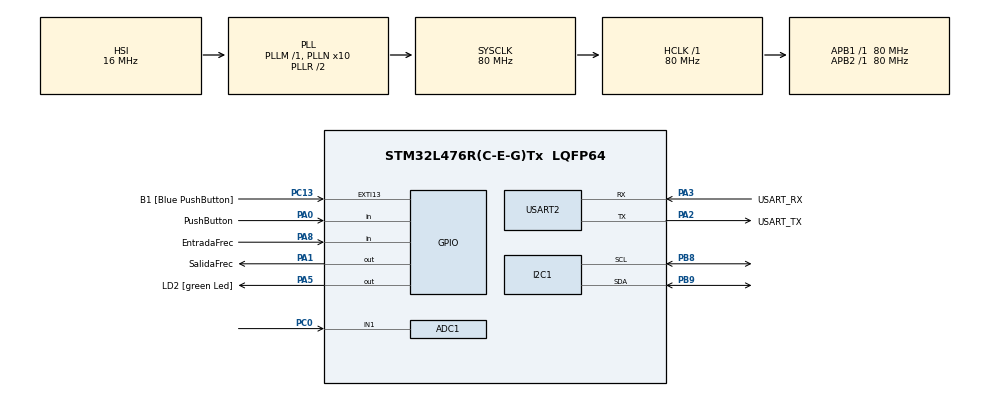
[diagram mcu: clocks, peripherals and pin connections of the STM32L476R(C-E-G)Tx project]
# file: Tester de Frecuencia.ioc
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ADC1.Channel-0\#ChannelRegularConversion=ADC_CHANNEL_1
ADC1.ContinuousConvMode=ENABLE
ADC1.DMAContinuousRequests=ENABLE
ADC1.NbrOfConversionFlag=1
ADC1.OffsetNumber-0\#ChannelRegularConversion=ADC_OFFSET_NONE
ADC1.Rank-0\#ChannelRegularConversion=1
ADC1.SamplingTime-0\#ChannelRegularConversion=ADC_SAMPLETIME_640CYCLES_5
ADC1.master=1
Dma.ADC1.0.Direction=DMA_PERIPH_TO_MEMORY
Dma.ADC1.0.Instance=DMA1_Channel1
Dma.ADC1.0.MemDataAlignment=DMA_MDATAALIGN_WORD
Dma.ADC1.0.MemInc=DMA_MINC_ENABLE
Dma.ADC1.0.Mode=DMA_CIRCULAR
Dma.ADC1.0.PeriphDataAlignment=DMA_PDATAALIGN_WORD
Dma.ADC1.0.PeriphInc=DMA_PINC_DISABLE
Dma.ADC1.0.Priority=DMA_PRIORITY_LOW
Dma.Request0=ADC1
I2C1.Timing=0x10909CEC
Mcu.Family=STM32L4
Mcu.Name=STM32L476R(C-E-G)Tx
Mcu.Package=LQFP64
NVIC.DMA1_Channel1_IRQn=true\:0\:0\:false\:false\:true\:false\:true\:true
NVIC.PriorityGroup=NVIC_PRIORITYGROUP_4
NVIC.TIM2_IRQn=true\:0\:0\:false\:false\:true\:true\:true\:true
PA0.GPIO_Label=PushButton
PA0.GPIO_PuPd=GPIO_PULLDOWN
PA0.Signal=GPIO_Input
PA1.GPIO_Label=SalidaFrec
PA1.Signal=GPIO_Output
PA13\ (JTMS-SWDIO).GPIO_Label=TMS
PA13\ (JTMS-SWDIO).Mode=Serial_Wire
PA13\ (JTMS-SWDIO).Signal=SYS_JTMS-SWDIO
PA14\ (JTCK-SWCLK).GPIO_Label=TCK
PA14\ (JTCK-SWCLK).Mode=Serial_Wire
PA14\ (JTCK-SWCLK).Signal=SYS_JTCK-SWCLK
PA2.GPIO_Label=USART_TX
PA2.GPIO_Mode=GPIO_MODE_AF_PP
PA2.GPIO_PuPd=GPIO_NOPULL
PA2.GPIO_Speed=GPIO_SPEED_FREQ_VERY_HIGH
PA2.Mode=Asynchronous
PA2.Signal=USART2_TX
PA3.GPIO_Label=USART_RX
PA3.GPIO_Mode=GPIO_MODE_AF_PP
PA3.GPIO_PuPd=GPIO_NOPULL
PA3.GPIO_Speed=GPIO_SPEED_FREQ_VERY_HIGH
PA3.Mode=Asynchronous
PA3.Signal=USART2_RX
PA5.GPIO_Label=LD2 [green Led]
PA5.GPIO_ModeDefaultOutputPP=GPIO_MODE_OUTPUT_PP
PA5.GPIO_PuPd=GPIO_NOPULL
PA5.GPIO_Speed=GPIO_SPEED_FREQ_LOW
PA5.Signal=GPIO_Output
PA8.GPIO_Label=EntradaFrec
PA8.GPIO_PuPd=GPIO_PULLDOWN
PA8.Signal=GPIO_Input
PB3\ (JTDO-TRACESWO).GPIO_Label=SWO
PB3\ (JTDO-TRACESWO).Signal=SYS_JTDO-SWO
PB8.Mode=I2C
PB8.Signal=I2C1_SCL
PB9.Mode=I2C
PB9.Signal=I2C1_SDA
PC0.Signal=ADCx_IN1
PC13.GPIO_Label=B1 [Blue PushButton]
PC13.GPIO_ModeDefaultEXTI=GPIO_MODE_IT_FALLING
PC13.GPIO_PuPd=GPIO_PULLUP
PC13.Signal=GPXTI13
PC14-OSC32_IN\ (PC14).Mode=LSE-External-Oscillator
PC14-OSC32_IN\ (PC14).Signal=RCC_OSC32_IN
PC15-OSC32_OUT\ (PC15).Mode=LSE-External-Oscillator
PC15-OSC32_OUT\ (PC15).Signal=RCC_OSC32_OUT
PH0-OSC_IN\ (PH0).Signal=RCC_OSC_IN
PH1-OSC_OUT\ (PH1).Signal=RCC_OSC_OUT
ProjectManager.HeapSize=0x200
ProjectManager.StackSize=0x400
ProjectManager.TargetToolchain=STM32CubeIDE
RCC.ADCFreq_Value=64000000
RCC.AHBFreq_Value=80000000
RCC.APB1Freq_Value=80000000
RCC.APB1TimFreq_Value=80000000
RCC.APB2Freq_Value=80000000
RCC.APB2TimFreq_Value=80000000
RCC.CortexFreq_Value=80000000
RCC.HCLKFreq_Value=80000000
RCC.HSE_VALUE=8000000
RCC.HSI_VALUE=16000000
RCC.MSI_VALUE=4000000
RCC.PLLN=10
RCC.PLLSourceVirtual=RCC_PLLSOURCE_HSI
RCC.PREFETCH_ENABLE=1
RCC.SYSCLKFreq_VALUE=80000000
RCC.SYSCLKSource=RCC_SYSCLKSOURCE_PLLCLK
RCC.USBFreq_Value=64000000
RCC.VCOOutputFreq_Value=160000000
SH.ADCx_IN1.0=ADC1_IN1,IN1-Single-Ended
TIM2.Period=1000
TIM2.Prescaler=80-1
USART2.VirtualMode-Asynchronous=VM_ASYNC
VP_TIM2_VS_ClockSourceINT.Mode=Internal
board=NUCLEO-L476RG

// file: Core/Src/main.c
/* USER CODE BEGIN Header */
/**
  ******************************************************************************
  * @file           : main.c
  * @brief          : Main program body
  ******************************************************************************
  * @attention
  *
  * Copyright (c) 2024 STMicroelectronics.
  * All rights reserved.
  *
  * This software is licensed under terms that can be found in the LICENSE file
  * in the root directory of this software component.
  * If no LICENSE file comes with this software, it is provided AS-IS.
  *
  ******************************************************************************
  */
/* USER CODE END Header */
#include "main.h"

/* USER CODE BEGIN Includes */
#include <stdio.h>
#include <stdlib.h>
#include <math.h>
#include "i2c-lcd.h"
/* USER CODE END Includes */

/* USER CODE BEGIN PD */
#define PUERTO_PB_A   GPIOA         //Puerto Boton Externo
#define PIN_PB_A 	  GPIO_PIN_0    //Pin Boton Externo
#define PUERTO_SALIDA_F   GPIOA      //Salida Frecuencia
#define PIN_SALIDA_F 	  GPIO_PIN_1
#define PUERTO_ENTRADA_FREC   GPIOA
#define PIN_ENTRADA_FREC 	  GPIO_PIN_8
#define TRUE	  1
#define FALSE     0
#define ESTADO_MEDIDOR   0
#define ESTADO_INICIAL   1
#define ESTADO_INTERMEDIO   2
#define MEDIDOR_ON   1          //Empezar a medir voltaje
#define MEDIDOR_OFF  0          //Dejar de medir voltaje
#define CAL 1.685               //Valor de Calibracion
#define MUESTRAS     20         //Muestras a realizar

/* USER CODE END PD */

ADC_HandleTypeDef hadc1;
DMA_HandleTypeDef hdma_adc1;

I2C_HandleTypeDef hi2c1;

TIM_HandleTypeDef htim2;

UART_HandleTypeDef huart2;

/* USER CODE BEGIN PV */
int Func_ESTADO_INICIAL(void);
int Func_ESTADO_MEDIDOR(void);
int Func_ESTADO_INTERMEDIO(void);
char VOL_STR[5];                   //String del Voltaje
unsigned int Estado_Medidor;
unsigned int Frecuencia_Salida;
volatile float Frecuencia = 0.0;
volatile uint32_t Tiempo_Subida = 0;      //Tiempo de Flanco de Subida
volatile uint32_t Tiempo_Bajada = 0;
volatile uint32_t Periodo = 0;
unsigned int cont_Frec = 0;

volatile int ESTADO_ANTERIOR = ESTADO_INICIAL;
volatile int ESTADO_ACTUAL = ESTADO_INICIAL;
volatile int ESTADO_SIGUIENTE = ESTADO_INICIAL;
volatile struct INOUT
{
    unsigned int Sa:1;
} inout;
/* USER CODE END PV */

void SystemClock_Config(void);
static void MX_GPIO_Init(void);
static void MX_DMA_Init(void);
static void MX_USART2_UART_Init(void);
static void MX_TIM2_Init(void);
static void MX_ADC1_Init(void);
static void MX_I2C1_Init(void);
/* USER CODE BEGIN PFP */

#ifdef __GNUC__
#define PUTCHAR_PROTOTYPE int __io_putchar(int ch)
#else
#define PUTCHAR_PROTOTYPE int fputc(int ch, FILE *f)
#endif

PUTCHAR_PROTOTYPE
{
  HAL_UART_Transmit(&huart2, (uint8_t *)&ch, 1, HAL_MAX_DELAY);
  return ch;
}

/* USER CODE END PFP */

int main(void)
{

  /* MCU Configuration--------------------------------------------------------*/

  /* Reset of all peripherals, Initializes the Flash interface and the Systick. */
  HAL_Init();

  /* Configure the system clock */
  SystemClock_Config();

  /* Initialize all configured peripherals */
  MX_GPIO_Init();
  MX_DMA_Init();
  MX_USART2_UART_Init();
  MX_TIM2_Init();
  MX_ADC1_Init();
  MX_I2C1_Init();
  /* USER CODE BEGIN 2 */
  HAL_TIM_Base_Start_IT(&htim2);
  lcd_init();
  /* USER CODE END 2 */

  /* Infinite loop */
  /* USER CODE BEGIN WHILE */
  while (1)
  {
	if(ESTADO_SIGUIENTE == ESTADO_INICIAL)
	{
		ESTADO_SIGUIENTE = Func_ESTADO_INICIAL();
	}
	if(ESTADO_SIGUIENTE == ESTADO_INTERMEDIO)
	{
		ESTADO_SIGUIENTE = Func_ESTADO_INTERMEDIO();
	}

	if(ESTADO_SIGUIENTE == ESTADO_MEDIDOR)
	{
		ESTADO_SIGUIENTE = Func_ESTADO_MEDIDOR();
	}
    /* USER CODE END WHILE */

  }
}

void SystemClock_Config(void)
{
  RCC_OscInitTypeDef RCC_OscInitStruct = {0};
  RCC_ClkInitTypeDef RCC_ClkInitStruct = {0};

  /** Configure the main internal regulator output voltage
  */
  if (HAL_PWREx_ControlVoltageScaling(PWR_REGULATOR_VOLTAGE_SCALE1) != HAL_OK)
  {
    Error_Handler();
  }

  /** Initializes the RCC Oscillators according to the specified parameters
  * in the RCC_OscInitTypeDef structure.
  */
  RCC_OscInitStruct.OscillatorType = RCC_OSCILLATORTYPE_HSI;
  RCC_OscInitStruct.HSIState = RCC_HSI_ON;
  RCC_OscInitStruct.HSICalibrationValue = RCC_HSICALIBRATION_DEFAULT;
  RCC_OscInitStruct.PLL.PLLState = RCC_PLL_ON;
  RCC_OscInitStruct.PLL.PLLSource = RCC_PLLSOURCE_HSI;
  RCC_OscInitStruct.PLL.PLLM = 1;
  RCC_OscInitStruct.PLL.PLLN = 10;
  RCC_OscInitStruct.PLL.PLLP = RCC_PLLP_DIV7;
  RCC_OscInitStruct.PLL.PLLQ = RCC_PLLQ_DIV2;
  RCC_OscInitStruct.PLL.PLLR = RCC_PLLR_DIV2;
  if (HAL_RCC_OscConfig(&RCC_OscInitStruct) != HAL_OK)
  {
    Error_Handler();
  }

  /** Initializes the CPU, AHB and APB buses clocks
  */
  RCC_ClkInitStruct.ClockType = RCC_CLOCKTYPE_HCLK|RCC_CLOCKTYPE_SYSCLK
                              |RCC_CLOCKTYPE_PCLK1|RCC_CLOCKTYPE_PCLK2;
  RCC_ClkInitStruct.SYSCLKSource = RCC_SYSCLKSOURCE_PLLCLK;
  RCC_ClkInitStruct.AHBCLKDivider = RCC_SYSCLK_DIV1;
  RCC_ClkInitStruct.APB1CLKDivider = RCC_HCLK_DIV1;
  RCC_ClkInitStruct.APB2CLKDivider = RCC_HCLK_DIV1;

  if (HAL_RCC_ClockConfig(&RCC_ClkInitStruct, FLASH_LATENCY_4) != HAL_OK)
  {
    Error_Handler();
  }
}

static void MX_ADC1_Init(void)
{

  ADC_MultiModeTypeDef multimode = {0};
  ADC_ChannelConfTypeDef sConfig = {0};

  /** Common config
  */
  hadc1.Instance = ADC1;
  hadc1.Init.ClockPrescaler = ADC_CLOCK_ASYNC_DIV1;
  hadc1.Init.Resolution = ADC_RESOLUTION_12B;
  hadc1.Init.DataAlign = ADC_DATAALIGN_RIGHT;
  hadc1.Init.ScanConvMode = ADC_SCAN_DISABLE;
  hadc1.Init.EOCSelection = ADC_EOC_SINGLE_CONV;
  hadc1.Init.LowPowerAutoWait = DISABLE;
  hadc1.Init.ContinuousConvMode = ENABLE;
  hadc1.Init.NbrOfConversion = 1;
  hadc1.Init.DiscontinuousConvMode = DISABLE;
  hadc1.Init.ExternalTrigConv = ADC_SOFTWARE_START;
  hadc1.Init.ExternalTrigConvEdge = ADC_EXTERNALTRIGCONVEDGE_NONE;
  hadc1.Init.DMAContinuousRequests = ENABLE;
  hadc1.Init.Overrun = ADC_OVR_DATA_PRESERVED;
  hadc1.Init.OversamplingMode = DISABLE;
  if (HAL_ADC_Init(&hadc1) != HAL_OK)
  {
    Error_Handler();
  }

  /** Configure the ADC multi-mode
  */
  multimode.Mode = ADC_MODE_INDEPENDENT;
  if (HAL_ADCEx_MultiModeConfigChannel(&hadc1, &multimode) != HAL_OK)
  {
    Error_Handler();
  }

  /** Configure Regular Channel
  */
  sConfig.Channel = ADC_CHANNEL_1;
  sConfig.Rank = ADC_REGULAR_RANK_1;
  sConfig.SamplingTime = ADC_SAMPLETIME_640CYCLES_5;
  sConfig.SingleDiff = ADC_SINGLE_ENDED;
  sConfig.OffsetNumber = ADC_OFFSET_NONE;
  sConfig.Offset = 0;
  if (HAL_ADC_ConfigChannel(&hadc1, &sConfig) != HAL_OK)
  {
    Error_Handler();
  }

}

static void MX_I2C1_Init(void)
{

  hi2c1.Instance = I2C1;
  hi2c1.Init.Timing = 0x10909CEC;
  hi2c1.Init.OwnAddress1 = 0;
  hi2c1.Init.AddressingMode = I2C_ADDRESSINGMODE_7BIT;
  hi2c1.Init.DualAddressMode = I2C_DUALADDRESS_DISABLE;
  hi2c1.Init.OwnAddress2 = 0;
  hi2c1.Init.OwnAddress2Masks = I2C_OA2_NOMASK;
  hi2c1.Init.GeneralCallMode = I2C_GENERALCALL_DISABLE;
  hi2c1.Init.NoStretchMode = I2C_NOSTRETCH_DISABLE;
  if (HAL_I2C_Init(&hi2c1) != HAL_OK)
  {
    Error_Handler();
  }

  /** Configure Analogue filter
  */
  if (HAL_I2CEx_ConfigAnalogFilter(&hi2c1, I2C_ANALOGFILTER_ENABLE) != HAL_OK)
  {
    Error_Handler();
  }

  /** Configure Digital filter
  */
  if (HAL_I2CEx_ConfigDigitalFilter(&hi2c1, 0) != HAL_OK)
  {
    Error_Handler();
  }

}

static void MX_TIM2_Init(void)
{

  TIM_ClockConfigTypeDef sClockSourceConfig = {0};
  TIM_MasterConfigTypeDef sMasterConfig = {0};

  htim2.Instance = TIM2;
  htim2.Init.Prescaler = 80-1;
  htim2.Init.CounterMode = TIM_COUNTERMODE_UP;
  htim2.Init.Period = 1000;
  htim2.Init.ClockDivision = TIM_CLOCKDIVISION_DIV1;
  htim2.Init.AutoReloadPreload = TIM_AUTORELOAD_PRELOAD_DISABLE;
  if (HAL_TIM_Base_Init(&htim2) != HAL_OK)
  {
    Error_Handler();
  }
  sClockSourceConfig.ClockSource = TIM_CLOCKSOURCE_INTERNAL;
  if (HAL_TIM_ConfigClockSource(&htim2, &sClockSourceConfig) != HAL_OK)
  {
    Error_Handler();
  }
  sMasterConfig.MasterOutputTrigger = TIM_TRGO_RESET;
  sMasterConfig.MasterSlaveMode = TIM_MASTERSLAVEMODE_DISABLE;
  if (HAL_TIMEx_MasterConfigSynchronization(&htim2, &sMasterConfig) != HAL_OK)
  {
    Error_Handler();
  }

}

static void MX_USART2_UART_Init(void)
{

  huart2.Instance = USART2;
  huart2.Init.BaudRate = 115200;
  huart2.Init.WordLength = UART_WORDLENGTH_8B;
  huart2.Init.StopBits = UART_STOPBITS_1;
  huart2.Init.Parity = UART_PARITY_NONE;
  huart2.Init.Mode = UART_MODE_TX_RX;
  huart2.Init.HwFlowCtl = UART_HWCONTROL_NONE;
  huart2.Init.OverSampling = UART_OVERSAMPLING_16;
  huart2.Init.OneBitSampling = UART_ONE_BIT_SAMPLE_DISABLE;
  huart2.AdvancedInit.AdvFeatureInit = UART_ADVFEATURE_NO_INIT;
  if (HAL_UART_Init(&huart2) != HAL_OK)
  {
    Error_Handler();
  }

}

static void MX_DMA_Init(void)
{

  /* DMA controller clock enable */
  __HAL_RCC_DMA1_CLK_ENABLE();

  /* DMA interrupt init */
  /* DMA1_Channel1_IRQn interrupt configuration */
  HAL_NVIC_SetPriority(DMA1_Channel1_IRQn, 0, 0);
  HAL_NVIC_EnableIRQ(DMA1_Channel1_IRQn);

}

static void MX_GPIO_Init(void)
{
  GPIO_InitTypeDef GPIO_InitStruct = {0};

  /* GPIO Ports Clock Enable */
  __HAL_RCC_GPIOC_CLK_ENABLE();
  __HAL_RCC_GPIOH_CLK_ENABLE();
  __HAL_RCC_GPIOA_CLK_ENABLE();
  __HAL_RCC_GPIOB_CLK_ENABLE();

  /*Configure GPIO pin Output Level */
  HAL_GPIO_WritePin(GPIOA, SalidaFrec_Pin|LD2_Pin, GPIO_PIN_RESET);

  /*Configure GPIO pin : B1_Pin */
  GPIO_InitStruct.Pin = B1_Pin;
  GPIO_InitStruct.Mode = GPIO_MODE_IT_FALLING;
  GPIO_InitStruct.Pull = GPIO_PULLUP;
  HAL_GPIO_Init(B1_GPIO_Port, &GPIO_InitStruct);

  /*Configure GPIO pins : PushButton_Pin EntradaFrec_Pin */
  GPIO_InitStruct.Pin = PushButton_Pin|EntradaFrec_Pin;
  GPIO_InitStruct.Mode = GPIO_MODE_INPUT;
  GPIO_InitStruct.Pull = GPIO_PULLDOWN;
  HAL_GPIO_Init(GPIOA, &GPIO_InitStruct);

  /*Configure GPIO pins : SalidaFrec_Pin LD2_Pin */
  GPIO_InitStruct.Pin = SalidaFrec_Pin|LD2_Pin;
  GPIO_InitStruct.Mode = GPIO_MODE_OUTPUT_PP;
  GPIO_InitStruct.Pull = GPIO_NOPULL;
  GPIO_InitStruct.Speed = GPIO_SPEED_FREQ_LOW;
  HAL_GPIO_Init(GPIOA, &GPIO_InitStruct);

}

/* USER CODE BEGIN 4 */

int Func_ESTADO_INICIAL(void)
{
    ESTADO_ANTERIOR = ESTADO_ACTUAL;
    ESTADO_ACTUAL = ESTADO_INICIAL;
    Estado_Medidor = MEDIDOR_OFF;
    for(;;)
    {
    	if(inout.Sa == TRUE)
        {
        	return ESTADO_INTERMEDIO;
        }
    }
}

int Func_ESTADO_INTERMEDIO(void)
{
    ESTADO_ANTERIOR = ESTADO_ACTUAL;
    ESTADO_ACTUAL = ESTADO_INTERMEDIO;
    for(;;)
    {
        if((inout.Sa == FALSE) && (ESTADO_ANTERIOR == ESTADO_INICIAL))
        {
        	return ESTADO_MEDIDOR;
        }
        if((inout.Sa == FALSE) && (ESTADO_ANTERIOR == ESTADO_MEDIDOR))
        {
            return ESTADO_INICIAL;
        }
    }
}

int Func_ESTADO_MEDIDOR(void)
{
    ESTADO_ANTERIOR = ESTADO_ACTUAL;
    ESTADO_ACTUAL = ESTADO_MEDIDOR;
    Estado_Medidor = MEDIDOR_ON;
    for(;;)
    {
    	if(inout.Sa == TRUE)
        {
        	return ESTADO_INTERMEDIO;
        }
    	//lcd_clear();
		//lcd_enviar("Voltaje:", 0, 2);     //Palabra Voltaje, Fila 0, Columna 2
		//lcd_enviar(VOL_STR, 1, 2);
		//HAL_Delay(1000);
    }
}

void HAL_TIM_PeriodElapsedCallback(TIM_HandleTypeDef *htim2)
{

		if(HAL_GPIO_ReadPin(PUERTO_PB_A, PIN_PB_A) == TRUE)
		{
			inout.Sa = TRUE;
		}
		else
		{
			inout.Sa = FALSE;
		}

		/*static unsigned cont_VOL = 0;
		static float Media = 0.0;
		static float VOLTAJE = 0.00;
		static uint32_t MED_ADC = 0;      //Medir ADC

		if (Estado_Medidor == MEDIDOR_ON)
		{
			HAL_ADC_Start_IT(&hadc1);
			MED_ADC = HAL_ADC_GetValue(&hadc1);
			if (cont_VOL >= MUESTRAS)
			{
				Media = Media/cont_VOL;
				Media = sqrtf(Media) * 0.0005;
				VOLTAJE = Media * CAL;
				sprintf(VOL_STR, "%.2f", VOLTAJE);      //Convertir de Float a String
				cont_VOL = 0;
				Media = 0;
			}
			else
			{
				MED_ADC = MED_ADC * MED_ADC;
				Media += MED_ADC;
				cont_VOL++;
				MED_ADC = 0;
			}
			HAL_ADC_Stop_IT(&hadc1);
		}
		else
		{
			HAL_ADC_Stop_IT(&hadc1);
		}*/
		//static uint32_t tiempo_actual = 0;

		if (cont_Frec == 80)
		{
			HAL_GPIO_TogglePin(PUERTO_SALIDA_F, PIN_SALIDA_F);
			Frecuencia_Salida = HAL_GPIO_ReadPin(PUERTO_SALIDA_F, PIN_SALIDA_F);
			cont_Frec = 0;
		}
		else
		{
			cont_Frec++;
		}

		if(HAL_GPIO_ReadPin(PUERTO_ENTRADA_FREC, PIN_ENTRADA_FREC) == TRUE)
		{
			if (Tiempo_Bajada > 0)
			{
				Periodo = Tiempo_Bajada - Tiempo_Subida;
				Frecuencia = 1000.0 / Periodo;
				Tiempo_Subida = 0;
				Tiempo_Bajada = 0;
			}
			Tiempo_Subida = HAL_GetTick();
		}
		else if (Tiempo_Subida > 0)
		{
			Tiempo_Bajada = HAL_GetTick();
		}

}

/* USER CODE END 4 */

void Error_Handler(void)
{
  __disable_irq();
  while (1)
  {
  }
}
